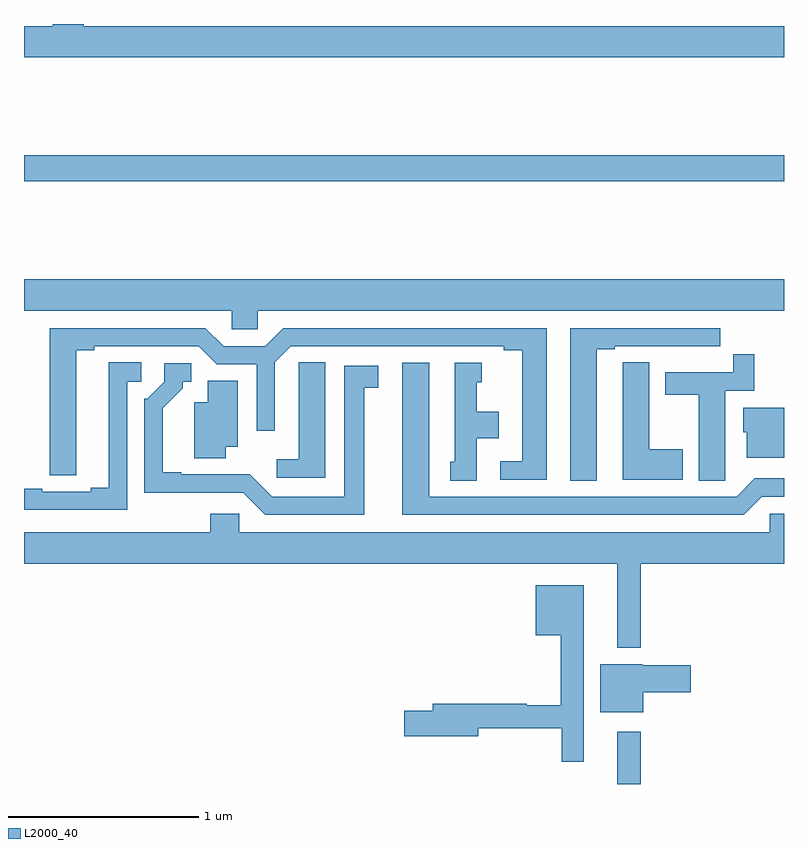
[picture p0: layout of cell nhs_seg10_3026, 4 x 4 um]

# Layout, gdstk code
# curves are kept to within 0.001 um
import gdstk
lib = gdstk.Library(unit=1e-6, precision=1e-09)
def R(c, l, rs):  # rectangles x0, y0, x1, y1
    for r in rs: c.add(gdstk.rectangle(r[:2], r[2:], *l))
def P(c, l, *ps):  # polygons
    for p in ps: c.add(gdstk.Polygon(p, *l))
L2000_40 = (2000, 40)

nhs_seg10_3026 = lib.new_cell('nhs_seg10_3026')
R(nhs_seg10_3026, L2000_40, [(278.123,1288.5,278.245,1288.774), (275,1291.672,279,1291.808)])
P(nhs_seg10_3026, L2000_40, [(279,1292.488),(275.315,1292.488),(275.315,1292.5),(275.15,1292.5),(275.15,1292.488),(275,1292.488),(275,1292.324),(279,1292.324)],
  [(276.231,1290.992),(279,1290.992),(279,1291.156),(275,1291.156),(275,1290.992),(276.093,1290.992),(276.093,1290.894),(276.231,1290.894)],
  [(278.014,1290.789),(278.11,1290.789),(278.11,1290.804),(278.386,1290.804),(278.386,1290.803),(278.552,1290.803),(278.552,1290.804),(278.665,1290.804),(278.665,1290.9),(277.874,1290.9),(277.874,1290.097),(278.014,1290.097)],
  [(277.75,1290.9),(276.365,1290.9),(276.269,1290.804),(276.051,1290.804),(275.955,1290.9),(275.135,1290.9),(275.136,1290.124),(275.275,1290.124),(275.275,1290.784),(275.371,1290.784),(275.371,1290.804),(275.919,1290.804),(276.015,1290.708),(276.225,1290.708),(276.225,1290.36),(276.321,1290.36),(276.321,1290.72),(276.405,1290.804),(277.526,1290.804),(277.526,1290.784),(277.622,1290.784),(277.622,1290.198),(277.506,1290.198),(277.506,1290.102),(277.75,1290.102)],
  [(278.691,1290.208),(278.692,1290.208),(278.692,1290.57),(278.843,1290.57),(278.843,1290.763),(278.734,1290.763),(278.734,1290.666),(278.375,1290.666),(278.375,1290.55),(278.552,1290.55),(278.552,1290.097),(278.691,1290.097)],
  [(278.467,1290.261),(278.29,1290.261),(278.29,1290.719),(278.151,1290.719),(278.151,1290.611),(278.15,1290.611),(278.15,1290.101),(278.467,1290.101)],
  [(275.544,1290.618),(275.617,1290.618),(275.617,1290.719),(275.447,1290.719),(275.447,1290.059),(275.351,1290.059),(275.351,1290.039),(275.095,1290.039),(275.095,1290.054),(275,1290.054),(275,1289.943),(275.544,1289.943)],
  [(276.586,1290.719),(276.447,1290.719),(276.447,1290.611),(276.446,1290.611),(276.446,1290.208),(276.33,1290.208),(276.33,1290.111),(276.586,1290.111)],
  [(277.384,1290.32),(277.498,1290.32),(277.498,1290.46),(277.384,1290.46),(277.384,1290.615),(277.408,1290.615),(277.408,1290.718),(277.268,1290.718),(277.268,1290.195),(277.244,1290.195),(277.244,1290.097),(277.384,1290.097)],
  [(278.883,1290.012),(279,1290.012),(279,1290.108),(278.847,1290.108),(278.751,1290.012),(277.132,1290.012),(277.132,1290.718),(276.992,1290.718),(276.992,1289.916),(278.787,1289.916)],
  [(276.79,1290.586),(276.865,1290.586),(276.865,1290.702),(276.686,1290.702),(276.686,1290.012),(276.306,1290.012),(276.188,1290.13),(275.827,1290.129),(275.827,1290.142),(275.731,1290.142),(275.731,1290.478),(275.836,1290.583),(275.836,1290.618),(275.881,1290.618),(275.881,1290.714),(275.739,1290.714),(275.739,1290.618),(275.649,1290.528),(275.634,1290.528),(275.634,1290.032),(276.153,1290.033),(276.27,1289.916),(276.79,1289.916)],
  [(276.061,1290.275),(276.124,1290.275),(276.124,1290.623),(275.966,1290.623),(275.966,1290.508),(275.897,1290.508),(275.897,1290.214),(276.061,1290.214)],
  [(279,1290.481),(278.786,1290.481),(278.786,1290.351),(278.804,1290.351),(278.804,1290.218),(279,1290.218)],
  [(278.245,1289.66),(279,1289.66),(279,1289.922),(278.925,1289.922),(278.925,1289.824),(276.132,1289.824),(276.132,1289.922),(275.981,1289.922),(275.981,1289.824),(275,1289.824),(275,1289.66),(278.123,1289.66),(278.123,1289.216),(278.245,1289.216)],
  [(277.945,1289.545),(277.694,1289.545),(277.694,1289.282),(277.824,1289.282),(277.824,1288.915),(277.645,1288.915),(277.645,1288.922),(277.151,1288.922),(277.151,1288.886),(277.002,1288.886),(277.002,1288.751),(277.39,1288.751),(277.39,1288.794),(277.831,1288.794),(277.831,1288.617),(277.945,1288.617)],
  [(278.26,1288.984),(278.509,1288.984),(278.509,1289.126),(278.256,1289.126),(278.256,1289.131),(278.033,1289.131),(278.033,1288.877),(278.26,1288.877)])

lib.write_gds('nhs_seg10_3026.gds')
